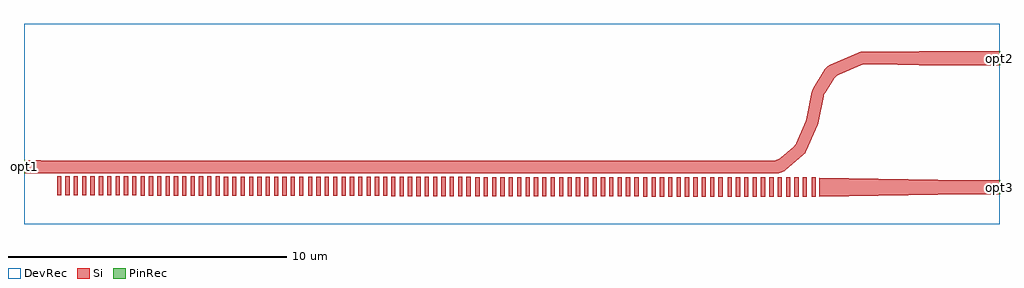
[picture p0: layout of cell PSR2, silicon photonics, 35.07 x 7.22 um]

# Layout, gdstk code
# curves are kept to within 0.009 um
import gdstk
lib = gdstk.Library(unit=1e-6, precision=1e-09)
def R(c, l, rs):  # rectangles x0, y0, x1, y1
    for r in rs: c.add(gdstk.rectangle(r[:2], r[2:], *l))
def P(c, l, *ps):  # polygons
    for p in ps: c.add(gdstk.Polygon(p, *l))
Si = (1, 0)
PinRec = (1, 10)
DevRec = (68, 0)

psr2 = lib.new_cell('PSR2')
R(psr2, Si, [(4.716,-2.607,4.866,-1.922), (4.716,-2.607,4.866,-1.922), (5.016,-2.607,5.166,-1.922), (5.016,-2.607,5.166,-1.922), (5.316,-2.607,5.466,-1.922), (5.316,-2.607,5.466,-1.922), (5.616,-2.607,5.766,-1.922), (5.616,-2.607,5.766,-1.922), (5.916,-2.607,6.066,-1.922), (5.916,-2.607,6.066,-1.922), (6.217,-2.607,6.367,-1.922), (6.217,-2.607,6.367,-1.922), (6.517,-2.607,6.667,-1.922), (6.517,-2.607,6.667,-1.922), (6.817,-2.607,6.967,-1.922), (6.817,-2.607,6.967,-1.922), (7.117,-2.607,7.267,-1.922), (7.117,-2.607,7.267,-1.922), (7.417,-2.607,7.567,-1.922), (7.417,-2.607,7.567,-1.922), (7.747,-2.607,7.897,-1.922), (7.747,-2.607,7.897,-1.922), (8.047,-2.607,8.197,-1.922), (8.047,-2.607,8.197,-1.922), (8.347,-2.607,8.497,-1.922), (8.347,-2.607,8.497,-1.922), (8.647,-2.607,8.797,-1.922), (8.647,-2.607,8.797,-1.922), (8.947,-2.607,9.097,-1.922), (8.947,-2.607,9.097,-1.922), (9.248,-2.607,9.398,-1.922), (9.248,-2.607,9.398,-1.922), (9.548,-2.607,9.698,-1.922), (9.548,-2.607,9.698,-1.922), (9.848,-2.607,9.998,-1.922), (9.848,-2.607,9.998,-1.922), (10.148,-2.607,10.298,-1.922), (10.148,-2.607,10.298,-1.922), (10.448,-2.607,10.598,-1.922), (10.448,-2.607,10.598,-1.922), (10.771,-2.607,10.921,-1.922), (10.771,-2.607,10.921,-1.922), (1.695,-2.598,1.845,-1.913), (1.695,-2.598,1.845,-1.913), (1.995,-2.598,2.145,-1.913), (1.995,-2.598,2.145,-1.913), (2.295,-2.598,2.445,-1.913), (2.295,-2.598,2.445,-1.913), (2.595,-2.598,2.745,-1.913), (2.595,-2.598,2.745,-1.913), (2.895,-2.598,3.045,-1.913), (2.895,-2.598,3.045,-1.913), (3.196,-2.598,3.346,-1.913), (3.196,-2.598,3.346,-1.913), (3.496,-2.598,3.646,-1.913), (3.496,-2.598,3.646,-1.913), (3.796,-2.598,3.946,-1.913), (3.796,-2.598,3.946,-1.913), (4.096,-2.598,4.246,-1.913), (4.096,-2.598,4.246,-1.913), (4.396,-2.598,4.546,-1.913), (4.396,-2.598,4.546,-1.913), (-1.315,-2.595,-1.165,-1.91), (-1.315,-2.595,-1.165,-1.91), (-1.015,-2.595,-0.865,-1.91), (-1.015,-2.595,-0.865,-1.91), (-0.715,-2.595,-0.565,-1.91), (-0.715,-2.595,-0.565,-1.91), (-0.415,-2.595,-0.265,-1.91), (-0.415,-2.595,-0.265,-1.91), (-0.115,-2.595,0.035,-1.91), (-0.115,-2.595,0.035,-1.91), (0.186,-2.595,0.336,-1.91), (0.186,-2.595,0.336,-1.91), (0.486,-2.595,0.636,-1.91), (0.486,-2.595,0.636,-1.91), (0.786,-2.595,0.936,-1.91), (0.786,-2.595,0.936,-1.91), (1.086,-2.595,1.236,-1.91), (1.086,-2.595,1.236,-1.91), (1.386,-2.595,1.536,-1.91), (1.386,-2.595,1.536,-1.91), (-4.338,-2.589,-4.188,-1.904), (-4.338,-2.589,-4.188,-1.904), (-4.038,-2.589,-3.888,-1.904), (-4.038,-2.589,-3.888,-1.904), (-3.738,-2.589,-3.588,-1.904), (-3.738,-2.589,-3.588,-1.904), (-3.438,-2.589,-3.288,-1.904), (-3.438,-2.589,-3.288,-1.904), (-3.138,-2.589,-2.988,-1.904), (-3.138,-2.589,-2.988,-1.904), (-2.837,-2.589,-2.687,-1.904), (-2.837,-2.589,-2.687,-1.904), (-2.537,-2.589,-2.387,-1.904), (-2.537,-2.589,-2.387,-1.904), (-2.237,-2.589,-2.087,-1.904), (-2.237,-2.589,-2.087,-1.904), (-1.937,-2.589,-1.787,-1.904), (-1.937,-2.589,-1.787,-1.904), (-1.637,-2.589,-1.487,-1.904), (-1.637,-2.589,-1.487,-1.904), (-7.327,-2.581,-7.177,-1.896), (-7.327,-2.581,-7.177,-1.896), (-7.027,-2.581,-6.877,-1.896), (-7.027,-2.581,-6.877,-1.896), (-6.727,-2.581,-6.577,-1.896), (-6.727,-2.581,-6.577,-1.896), (-6.427,-2.581,-6.277,-1.896), (-6.427,-2.581,-6.277,-1.896), (-6.127,-2.581,-5.977,-1.896), (-6.127,-2.581,-5.977,-1.896), (-5.826,-2.581,-5.676,-1.896), (-5.826,-2.581,-5.676,-1.896), (-5.526,-2.581,-5.376,-1.896), (-5.526,-2.581,-5.376,-1.896), (-5.226,-2.581,-5.076,-1.896), (-5.226,-2.581,-5.076,-1.896), (-4.926,-2.581,-4.776,-1.896), (-4.926,-2.581,-4.776,-1.896), (-4.626,-2.581,-4.476,-1.896), (-4.626,-2.581,-4.476,-1.896), (-10.351,-2.572,-10.201,-1.887), (-10.351,-2.572,-10.201,-1.887), (-10.051,-2.572,-9.901,-1.887), (-10.051,-2.572,-9.901,-1.887), (-9.751,-2.572,-9.601,-1.887), (-9.751,-2.572,-9.601,-1.887), (-9.451,-2.572,-9.301,-1.887), (-9.451,-2.572,-9.301,-1.887), (-9.151,-2.572,-9.001,-1.887), (-9.151,-2.572,-9.001,-1.887), (-8.85,-2.572,-8.7,-1.887), (-8.85,-2.572,-8.7,-1.887), (-8.55,-2.572,-8.4,-1.887), (-8.55,-2.572,-8.4,-1.887), (-8.25,-2.572,-8.1,-1.887), (-8.25,-2.572,-8.1,-1.887), (-7.95,-2.572,-7.8,-1.887), (-7.95,-2.572,-7.8,-1.887), (-7.65,-2.572,-7.5,-1.887), (-7.65,-2.572,-7.5,-1.887), (-13.35,-2.571,-13.2,-1.886), (-13.35,-2.571,-13.2,-1.886), (-13.05,-2.571,-12.9,-1.886), (-13.05,-2.571,-12.9,-1.886), (-12.75,-2.571,-12.6,-1.886), (-12.75,-2.571,-12.6,-1.886), (-12.45,-2.571,-12.3,-1.886), (-12.45,-2.571,-12.3,-1.886), (-12.15,-2.571,-12,-1.886), (-12.15,-2.571,-12,-1.886), (-11.849,-2.571,-11.699,-1.886), (-11.849,-2.571,-11.699,-1.886), (-11.549,-2.571,-11.399,-1.886), (-11.549,-2.571,-11.399,-1.886), (-11.249,-2.571,-11.099,-1.886), (-11.249,-2.571,-11.099,-1.886), (-10.949,-2.571,-10.799,-1.886), (-10.949,-2.571,-10.799,-1.886), (-10.649,-2.571,-10.499,-1.886), (-10.649,-2.571,-10.499,-1.886), (-16.348,-2.566,-16.198,-1.881), (-16.348,-2.566,-16.198,-1.881), (-16.048,-2.566,-15.898,-1.881), (-16.048,-2.566,-15.898,-1.881), (-15.748,-2.566,-15.598,-1.881), (-15.748,-2.566,-15.598,-1.881), (-15.448,-2.566,-15.298,-1.881), (-15.448,-2.566,-15.298,-1.881), (-15.148,-2.566,-14.998,-1.881), (-15.148,-2.566,-14.998,-1.881), (-14.847,-2.566,-14.697,-1.881), (-14.847,-2.566,-14.697,-1.881), (-14.547,-2.566,-14.397,-1.881), (-14.547,-2.566,-14.397,-1.881), (-14.247,-2.566,-14.097,-1.881), (-14.247,-2.566,-14.097,-1.881), (-13.947,-2.566,-13.797,-1.881), (-13.947,-2.566,-13.797,-1.881), (-13.647,-2.566,-13.497,-1.881), (-13.647,-2.566,-13.497,-1.881), (16.369,-2.517,17.527,-2.017), (-16.349,-1.776,8.651,-1.326)])
P(psr2, Si, [(8.651,-1.776),(8.651,-1.326),(9.376,-1.319),(9.521,-1.289),(9.651,-1.217),(10.103,-0.833),(10.163,-0.767),(10.21,-0.69),(10.563,0.107),(10.773,1.16),(10.802,1.247),(11.247,1.968),(11.312,2.045),(11.436,2.131),(12.437,2.565),(12.585,2.596),(17.527,2.61),(17.527,2.11),(14.633,2.11),(13.063,2.148),(12.679,2.146),(12.531,2.115),(11.744,1.773),(11.658,1.72),(11.555,1.61),(11.228,1.079),(11.199,0.992),(10.995,-0.029),(10.58,-0.966),(10.505,-1.077),(9.819,-1.665),(9.689,-1.737),(9.544,-1.767)],
  [(11.046,-2.609),(11.046,-1.924),(16.369,-2.017),(16.369,-2.517)],
  [(-17.527,-1.791),(-17.527,-1.291),(-16.349,-1.326),(-16.349,-1.776)])
R(psr2, DevRec, [(-17.527,-3.609,17.527,3.61)])
psr2.add(gdstk.FlexPath([(-17.517,-1.541),(-17.537,-1.541)], 0.5, ends="flush", simple_path=True, layer=1, datatype=10))  # PinRec
psr2.add(gdstk.FlexPath([(17.517,2.36),(17.537,2.36)], 0.5, ends="flush", simple_path=True, layer=1, datatype=10))  # PinRec
psr2.add(gdstk.FlexPath([(17.517,-2.267),(17.537,-2.267)], 0.5, ends="flush", simple_path=True, layer=1, datatype=10))  # PinRec
psr2.add(gdstk.Label('opt1', (-17.527,-1.541), layer=1, texttype=10))
psr2.add(gdstk.Label('opt2', (17.527,2.36), layer=1, texttype=10))
psr2.add(gdstk.Label('opt3', (17.527,-2.267), layer=1, texttype=10))

lib.write_gds('PSR2.gds')
